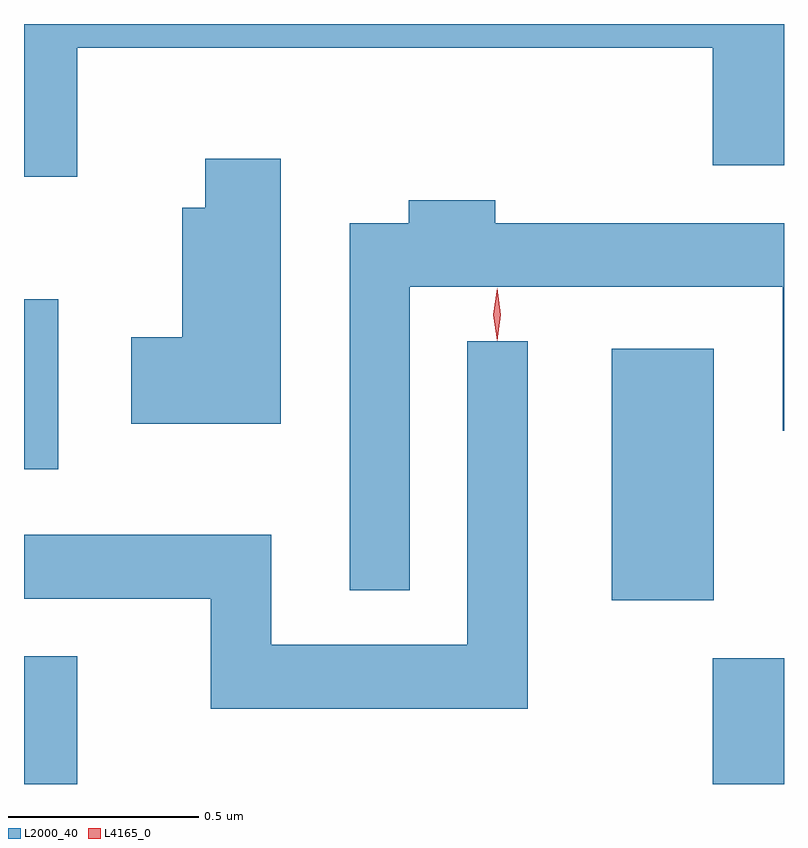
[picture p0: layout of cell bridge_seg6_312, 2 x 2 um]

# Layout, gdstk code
import gdstk
lib = gdstk.Library(unit=1e-6, precision=1e-09)
def R(c, l, rs):  # rectangles x0, y0, x1, y1
    for r in rs: c.add(gdstk.rectangle(r[:2], r[2:], *l))
def P(c, l, *ps):  # polygons
    for p in ps: c.add(gdstk.Polygon(p, *l))
L2000_40 = (2000, 40)
L4165_0 = (4165, 0)

bridge_seg6_312 = lib.new_cell('bridge_seg6_312')
R(bridge_seg6_312, L2000_40, [(1302.989,1536.998,1303.129,1537.334), (1304.801,1536.998,1304.989,1537.329), (1304.536,1537.481,1304.804,1538.144), (1302.989,1537.826,1303.079,1538.274)])
P(bridge_seg6_312, L2000_40, [(1303.129,1538.936),(1304.801,1538.936),(1304.801,1538.626),(1304.989,1538.626),(1304.989,1538.998),(1302.989,1538.998),(1302.989,1538.596),(1303.129,1538.596)],
  [(1303.664,1538.644),(1303.466,1538.644),(1303.466,1538.514),(1303.406,1538.514),(1303.406,1538.174),(1303.271,1538.174),(1303.271,1537.946),(1303.664,1537.946)],
  [(1304.004,1538.306),(1304.986,1538.306),(1304.986,1537.928),(1304.989,1537.928),(1304.989,1538.474),(1304.229,1538.474),(1304.229,1538.534),(1304.001,1538.534),(1304.001,1538.474),(1303.846,1538.474),(1303.846,1537.508),(1304.004,1537.508)],
  [(1304.314,1538.163),(1304.156,1538.163),(1304.156,1537.364),(1303.639,1537.364),(1303.639,1537.654),(1302.989,1537.654),(1302.989,1537.486),(1303.481,1537.486),(1303.481,1537.196),(1304.314,1537.196)])
P(bridge_seg6_312, L4165_0, [(1304.234,1538.164),(1304.234,1538.164),(1304.224,1538.233),(1304.234,1538.302),(1304.234,1538.303),(1304.235,1538.302),(1304.244,1538.233),(1304.235,1538.164)])

lib.write_gds('bridge_seg6_312.gds')
